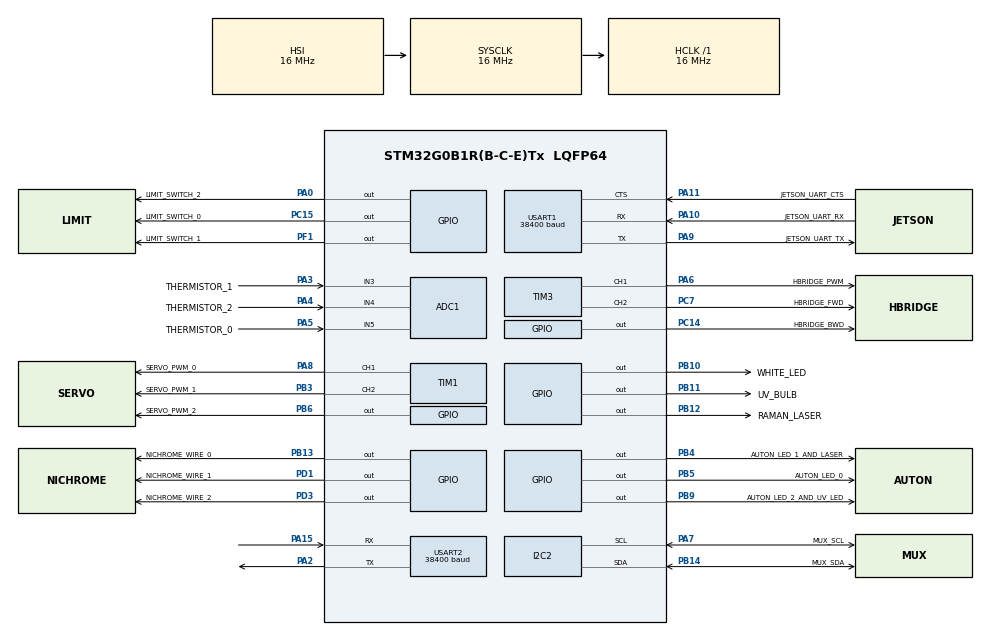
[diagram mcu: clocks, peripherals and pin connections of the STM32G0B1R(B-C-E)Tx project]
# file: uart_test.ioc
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ADC1.Channel-0\#ChannelRegularConversion=ADC_CHANNEL_3
ADC1.NbrOfConversionFlag=1
ADC1.Rank-0\#ChannelRegularConversion=1
ADC1.SamplingTime-0\#ChannelRegularConversion=ADC_SAMPLINGTIME_COMMON_1
ADC1.SelectedChannel=ADC_CHANNEL_3|ADC_CHANNEL_4|ADC_CHANNEL_5
ADC1.master=1
Dma.Request0=USART1_RX
Dma.Request1=USART2_RX
Dma.USART1_RX.0.Direction=DMA_PERIPH_TO_MEMORY
Dma.USART1_RX.0.EventEnable=DISABLE
Dma.USART1_RX.0.Instance=DMA1_Channel1
Dma.USART1_RX.0.MemDataAlignment=DMA_MDATAALIGN_BYTE
Dma.USART1_RX.0.MemInc=DMA_MINC_ENABLE
Dma.USART1_RX.0.Mode=DMA_NORMAL
Dma.USART1_RX.0.PeriphDataAlignment=DMA_PDATAALIGN_BYTE
Dma.USART1_RX.0.PeriphInc=DMA_PINC_DISABLE
Dma.USART1_RX.0.Polarity=HAL_DMAMUX_REQ_GEN_RISING
Dma.USART1_RX.0.Priority=DMA_PRIORITY_LOW
Dma.USART1_RX.0.RequestNumber=1
Dma.USART1_RX.0.SignalID=NONE
Dma.USART1_RX.0.SyncEnable=DISABLE
Dma.USART1_RX.0.SyncPolarity=HAL_DMAMUX_SYNC_NO_EVENT
Dma.USART1_RX.0.SyncRequestNumber=1
Dma.USART1_RX.0.SyncSignalID=NONE
Dma.USART2_RX.1.Direction=DMA_PERIPH_TO_MEMORY
Dma.USART2_RX.1.EventEnable=DISABLE
Dma.USART2_RX.1.Instance=DMA1_Channel2
Dma.USART2_RX.1.MemDataAlignment=DMA_MDATAALIGN_BYTE
Dma.USART2_RX.1.MemInc=DMA_MINC_ENABLE
Dma.USART2_RX.1.Mode=DMA_NORMAL
Dma.USART2_RX.1.PeriphDataAlignment=DMA_PDATAALIGN_BYTE
Dma.USART2_RX.1.PeriphInc=DMA_PINC_DISABLE
Dma.USART2_RX.1.Polarity=HAL_DMAMUX_REQ_GEN_RISING
Dma.USART2_RX.1.Priority=DMA_PRIORITY_LOW
Dma.USART2_RX.1.RequestNumber=1
Dma.USART2_RX.1.SignalID=NONE
Dma.USART2_RX.1.SyncEnable=DISABLE
Dma.USART2_RX.1.SyncPolarity=HAL_DMAMUX_SYNC_NO_EVENT
Dma.USART2_RX.1.SyncRequestNumber=1
Dma.USART2_RX.1.SyncSignalID=NONE
Mcu.Family=STM32G0
Mcu.Name=STM32G0B1R(B-C-E)Tx
Mcu.Package=LQFP64
NVIC.DMA1_Channel1_IRQn=true\:0\:0\:false\:false\:true\:false\:true
NVIC.DMA1_Channel2_3_IRQn=true\:0\:0\:false\:false\:true\:false\:true
NVIC.I2C2_3_IRQn=true\:0\:0\:false\:false\:true\:true\:true
NVIC.USART2_LPUART2_IRQn=true\:0\:0\:false\:false\:true\:true\:true
PA0.GPIO_Label=LIMIT_SWITCH_2
PA0.Signal=GPIO_Output
PA10.GPIO_Label=JETSON_UART_RX
PA10.GPIO_Speed=GPIO_SPEED_FREQ_HIGH
PA10.Mode=Asynchronous
PA10.Signal=USART1_RX
PA11\ [PA9].GPIO_Label=JETSON_UART_CTS
PA11\ [PA9].Mode=CTS_Only
PA11\ [PA9].Signal=USART1_CTS
PA13.GPIO_Label=TMS
PA13.Mode=Serial_Wire
PA13.Signal=SYS_SWDIO
PA14-BOOT0.GPIO_Label=TCK
PA14-BOOT0.Mode=Serial_Wire
PA14-BOOT0.Signal=SYS_SWCLK
PA15.Mode=Asynchronous
PA15.Signal=USART2_RX
PA2.Mode=Asynchronous
PA2.Signal=USART2_TX
PA3.GPIO_Label=THERMISTOR_1
PA3.Mode=IN3
PA3.Signal=ADC1_IN3
PA4.GPIO_Label=THERMISTOR_2
PA4.Mode=IN4
PA4.Signal=ADC1_IN4
PA5.GPIO_Label=THERMISTOR_0
PA5.Mode=IN5
PA5.Signal=ADC1_IN5
PA6.GPIO_Label=HBRIDGE_PWM
PA6.Signal=S_TIM3_CH1
PA7.GPIO_Label=MUX_SCL
PA7.Mode=I2C
PA7.Signal=I2C2_SCL
PA8.GPIO_Label=SERVO_PWM_0
PA8.Signal=S_TIM1_CH1
PA9.GPIO_Label=JETSON_UART_TX
PA9.GPIO_Speed=GPIO_SPEED_FREQ_HIGH
PA9.Mode=Asynchronous
PA9.Signal=USART1_TX
PB10.GPIO_Label=WHITE_LED
PB10.Signal=GPIO_Output
PB11.GPIO_Label=UV_BULB
PB11.Signal=GPIO_Output
PB12.GPIO_Label=RAMAN_LASER
PB12.Signal=GPIO_Output
PB13.GPIO_Label=NICHROME_WIRE_0
PB13.Signal=GPIO_Output
PB14.GPIO_Label=MUX_SDA
PB14.Mode=I2C
PB14.Signal=I2C2_SDA
PB3.GPIO_Label=SERVO_PWM_1
PB3.Signal=S_TIM1_CH2
PB4.GPIO_Label=AUTON_LED_1_AND_LASER
PB4.Signal=GPIO_Output
PB5.GPIO_Label=AUTON_LED_0
PB5.Signal=GPIO_Output
PB6.GPIO_Label=SERVO_PWM_2
PB6.Signal=GPIO_Output
PB9.GPIO_Label=AUTON_LED_2_AND_UV_LED
PB9.Signal=GPIO_Output
PC13.Mode=SYS_WakeUp1
PC13.Signal=SYS_WKUP2
PC14-OSC32_IN\ (PC14).GPIO_Label=HBRIDGE_BWD
PC14-OSC32_IN\ (PC14).Signal=GPIO_Output
PC15-OSC32_OUT\ (PC15).GPIO_Label=LIMIT_SWITCH_0
PC15-OSC32_OUT\ (PC15).Signal=GPIO_Output
PC7.GPIO_Label=HBRIDGE_FWD
PC7.Signal=S_TIM3_CH2
PD1.GPIO_Label=NICHROME_WIRE_1
PD1.Signal=GPIO_Output
PD3.GPIO_Label=NICHROME_WIRE_2
PD3.Signal=GPIO_Output
PF0-OSC_IN\ (PF0).GPIO_Label=MCO
PF0-OSC_IN\ (PF0).Mode=HSE-External-Clock-Source
PF0-OSC_IN\ (PF0).Signal=RCC_OSC_IN
PF1-OSC_OUT\ (PF1).GPIO_Label=LIMIT_SWITCH_1
PF1-OSC_OUT\ (PF1).Signal=GPIO_Output
ProjectManager.HeapSize=0x200
ProjectManager.StackSize=0x400
ProjectManager.TargetToolchain=STM32CubeIDE
RCC.AHBFreq_Value=16000000
RCC.CortexFreq_Value=16000000
RCC.EXTERNAL_CLOCK_VALUE=12288000
RCC.HCLKFreq_Value=16000000
RCC.HSE_VALUE=8000000
RCC.HSI48_VALUE=48000000
RCC.HSI_VALUE=16000000
RCC.LSE_VALUE=32768
RCC.SYSCLKFreq_VALUE=16000000
RCC.USBFreq_Value=48000000
RCC.VCOOutputFreq_Value=128000000
SH.S_TIM1_CH1.0=TIM1_CH1,PWM Generation1 CH1
SH.S_TIM1_CH2.0=TIM1_CH2,PWM Generation2 CH2
SH.S_TIM3_CH1.0=TIM3_CH1,PWM Generation1 CH1
SH.S_TIM3_CH2.0=TIM3_CH2,PWM Generation2 CH2
TIM1.Channel-PWM\ Generation1\ CH1=TIM_CHANNEL_1
TIM1.Channel-PWM\ Generation2\ CH2=TIM_CHANNEL_2
TIM3.Channel-PWM\ Generation1\ CH1=TIM_CHANNEL_1
TIM3.Channel-PWM\ Generation2\ CH2=TIM_CHANNEL_2
USART1.BaudRate=38400
USART1.VirtualMode-Asynchronous=VM_ASYNC
USART2.BaudRate=38400
USART2.VirtualMode-Asynchronous=VM_ASYNC
VP_SYS_VS_DBSignals.Mode=DisableDeadBatterySignals
board=NUCLEO-G0B1RE

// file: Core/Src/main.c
/* USER CODE BEGIN Header */
/**
  ******************************************************************************
  * @file           : main.c
  * @brief          : Main program body
  ******************************************************************************
  * @attention
  *
  * <h2><center>&copy; Copyright (c) 2021 STMicroelectronics.
  * All rights reserved.</center></h2>
  *
  * This software component is licensed by ST under BSD 3-Clause license,
  * the "License"; You may not use this file except in compliance with the
  * License. You may obtain a copy of the License at:
  *                        opensource.org/licenses/BSD-3-Clause
  *
  ******************************************************************************
  */
/* USER CODE END Header */
#include "main.h"

/* USER CODE BEGIN Includes */
#include "main_loop.h"
#include "main_preloop.h"
/* USER CODE END Includes */

ADC_HandleTypeDef hadc1;

I2C_HandleTypeDef hi2c2;

TIM_HandleTypeDef htim1;
TIM_HandleTypeDef htim3;

UART_HandleTypeDef huart1;
UART_HandleTypeDef huart2;
DMA_HandleTypeDef hdma_usart1_rx;
DMA_HandleTypeDef hdma_usart2_rx;

/* USER CODE BEGIN PV */
HAL_StatusTypeDef ret;

#define HBRIDGE_TIMER &htim3;

#define JETSON_UART &huart2

// Flag for command received
volatile int cmd_received = 0;

//Global buffer for receiving UART commands
volatile uint8_t Rx_data[20];

//Global buffer of the last received command.
volatile uint8_t cmd_data[20];
/* USER CODE END PV */

void SystemClock_Config(void);
static void MX_GPIO_Init(void);
static void MX_DMA_Init(void);
static void MX_ADC1_Init(void);
static void MX_TIM1_Init(void);
static void MX_TIM3_Init(void);
static void MX_USART1_UART_Init(void);
static void MX_USART2_UART_Init(void);
static void MX_I2C2_Init(void);
/* USER CODE BEGIN PFP */

// Clears the ORE and NE flags from the uart handler with delay
// TODO add better explanation why
void clear_flags();

/* USER CODE END PFP */

/* USER CODE BEGIN 0 */

//Callback to be called after HAL_UART_RECEIVE_IT finishes getting data
void HAL_UART_RxCpltCallback(UART_HandleTypeDef *huart){
	// Disable Interrupts
	HAL_NVIC_DisableIRQ(USART1_IRQn);
	// Set received flag
	cmd_received = 1;
	// Copy the receive buffer into the command buffer.
	memcpy(cmd_data,Rx_data,20);
	// Save the last command
	// Enable Interrupts
	HAL_NVIC_EnableIRQ(USART1_IRQn);
	ret = HAL_UART_Receive_DMA(JETSON_UART,Rx_data,20);

	//__HAL_UART_CLEAR_FLAG(JETSON_UART, UART_CLEAR_OREF);
	//__HAL_UART_SEND_REQ(JETSON_UART, UART_RXDATA_FLUSH_REQUEST);

	if (ret != HAL_OK) {
		Error_Handler();
		HAL_UART_Abort_IT(&huart1);
	    SET_BIT(huart1.Instance->CR3, USART_CR3_EIE);
	    //This flag no longer exists
	    //SET_BIT(huart1.Instance->CR1, USART_CR1_PEIE | USART_CR1_RXNEIE);
	    HAL_NVIC_ClearPendingIRQ(USART1_IRQn);

	    ret = HAL_UART_Receive_DMA(JETSON_UART,Rx_data,20);
	}
}

void HAL_UART_TxCpltCallback(UART_HandleTypeDef *huart) {

}

// Clears the ORE and NE flags from the uart handler with delay
// TODO add better explanation why
void clear_flags(){
	HAL_Delay(250);
	__HAL_UART_CLEAR_OREFLAG(JETSON_UART);
	__HAL_UART_CLEAR_NEFLAG(JETSON_UART);
}
/* USER CODE END 0 */

int main(void)
{

  /* MCU Configuration--------------------------------------------------------*/

  /* Reset of all peripherals, Initializes the Flash interface and the Systick. */
  HAL_Init();

  /* Configure the system clock */
  SystemClock_Config();

  /* Initialize all configured peripherals */
  MX_GPIO_Init();
  MX_DMA_Init();
  MX_ADC1_Init();
  MX_TIM1_Init();
  MX_TIM3_Init();
  MX_USART1_UART_Init();
  MX_USART2_UART_Init();
  MX_I2C2_Init();
  /* USER CODE BEGIN 2 */

  main_preloop();
  /* USER CODE END 2 */

  /* Infinite loop */
  while (1)
  {

    /* USER CODE BEGIN 3 */
	  main_loop();
  }
  /* USER CODE END 3 */
}

void SystemClock_Config(void)
{
  RCC_OscInitTypeDef RCC_OscInitStruct = {0};
  RCC_ClkInitTypeDef RCC_ClkInitStruct = {0};
  RCC_PeriphCLKInitTypeDef PeriphClkInit = {0};

  /** Configure the main internal regulator output voltage
  */
  HAL_PWREx_ControlVoltageScaling(PWR_REGULATOR_VOLTAGE_SCALE1);
  /** Initializes the RCC Oscillators according to the specified parameters
  * in the RCC_OscInitTypeDef structure.
  */
  RCC_OscInitStruct.OscillatorType = RCC_OSCILLATORTYPE_HSI;
  RCC_OscInitStruct.HSIState = RCC_HSI_ON;
  RCC_OscInitStruct.HSIDiv = RCC_HSI_DIV1;
  RCC_OscInitStruct.HSICalibrationValue = RCC_HSICALIBRATION_DEFAULT;
  RCC_OscInitStruct.PLL.PLLState = RCC_PLL_NONE;
  if (HAL_RCC_OscConfig(&RCC_OscInitStruct) != HAL_OK)
  {
    Error_Handler();
  }
  /** Initializes the CPU, AHB and APB buses clocks
  */
  RCC_ClkInitStruct.ClockType = RCC_CLOCKTYPE_HCLK|RCC_CLOCKTYPE_SYSCLK
                              |RCC_CLOCKTYPE_PCLK1;
  RCC_ClkInitStruct.SYSCLKSource = RCC_SYSCLKSOURCE_HSI;
  RCC_ClkInitStruct.AHBCLKDivider = RCC_SYSCLK_DIV1;
  RCC_ClkInitStruct.APB1CLKDivider = RCC_HCLK_DIV1;

  if (HAL_RCC_ClockConfig(&RCC_ClkInitStruct, FLASH_LATENCY_0) != HAL_OK)
  {
    Error_Handler();
  }
  /** Initializes the peripherals clocks
  */
  PeriphClkInit.PeriphClockSelection = RCC_PERIPHCLK_USART1|RCC_PERIPHCLK_USART2
                              |RCC_PERIPHCLK_I2C2|RCC_PERIPHCLK_ADC
                              |RCC_PERIPHCLK_TIM1;
  PeriphClkInit.Usart1ClockSelection = RCC_USART1CLKSOURCE_PCLK1;
  PeriphClkInit.Usart2ClockSelection = RCC_USART2CLKSOURCE_PCLK1;
  PeriphClkInit.AdcClockSelection = RCC_ADCCLKSOURCE_SYSCLK;
  PeriphClkInit.Tim1ClockSelection = RCC_TIM1CLKSOURCE_PCLK1;
  PeriphClkInit.I2c2ClockSelection = RCC_I2C2CLKSOURCE_PCLK1;
  if (HAL_RCCEx_PeriphCLKConfig(&PeriphClkInit) != HAL_OK)
  {
    Error_Handler();
  }
}

static void MX_ADC1_Init(void)
{

  ADC_ChannelConfTypeDef sConfig = {0};

  /** Configure the global features of the ADC (Clock, Resolution, Data Alignment and number of conversion)
  */
  hadc1.Instance = ADC1;
  hadc1.Init.ClockPrescaler = ADC_CLOCK_SYNC_PCLK_DIV2;
  hadc1.Init.Resolution = ADC_RESOLUTION_12B;
  hadc1.Init.DataAlign = ADC_DATAALIGN_RIGHT;
  hadc1.Init.ScanConvMode = ADC_SCAN_DISABLE;
  hadc1.Init.EOCSelection = ADC_EOC_SINGLE_CONV;
  hadc1.Init.LowPowerAutoWait = DISABLE;
  hadc1.Init.LowPowerAutoPowerOff = DISABLE;
  hadc1.Init.ContinuousConvMode = DISABLE;
  hadc1.Init.NbrOfConversion = 1;
  hadc1.Init.DiscontinuousConvMode = DISABLE;
  hadc1.Init.ExternalTrigConv = ADC_SOFTWARE_START;
  hadc1.Init.ExternalTrigConvEdge = ADC_EXTERNALTRIGCONVEDGE_NONE;
  hadc1.Init.DMAContinuousRequests = DISABLE;
  hadc1.Init.Overrun = ADC_OVR_DATA_PRESERVED;
  hadc1.Init.SamplingTimeCommon1 = ADC_SAMPLETIME_1CYCLE_5;
  hadc1.Init.SamplingTimeCommon2 = ADC_SAMPLETIME_1CYCLE_5;
  hadc1.Init.OversamplingMode = DISABLE;
  hadc1.Init.TriggerFrequencyMode = ADC_TRIGGER_FREQ_HIGH;
  if (HAL_ADC_Init(&hadc1) != HAL_OK)
  {
    Error_Handler();
  }
  /** Configure Regular Channel
  */
  sConfig.Channel = ADC_CHANNEL_3;
  sConfig.Rank = ADC_REGULAR_RANK_1;
  sConfig.SamplingTime = ADC_SAMPLINGTIME_COMMON_1;
  if (HAL_ADC_ConfigChannel(&hadc1, &sConfig) != HAL_OK)
  {
    Error_Handler();
  }

}

static void MX_I2C2_Init(void)
{

  hi2c2.Instance = I2C2;
  hi2c2.Init.Timing = 0x00303D5B;
  hi2c2.Init.OwnAddress1 = 0;
  hi2c2.Init.AddressingMode = I2C_ADDRESSINGMODE_7BIT;
  hi2c2.Init.DualAddressMode = I2C_DUALADDRESS_DISABLE;
  hi2c2.Init.OwnAddress2 = 0;
  hi2c2.Init.OwnAddress2Masks = I2C_OA2_NOMASK;
  hi2c2.Init.GeneralCallMode = I2C_GENERALCALL_DISABLE;
  hi2c2.Init.NoStretchMode = I2C_NOSTRETCH_DISABLE;
  if (HAL_I2C_Init(&hi2c2) != HAL_OK)
  {
    Error_Handler();
  }
  /** Configure Analogue filter
  */
  if (HAL_I2CEx_ConfigAnalogFilter(&hi2c2, I2C_ANALOGFILTER_ENABLE) != HAL_OK)
  {
    Error_Handler();
  }
  /** Configure Digital filter
  */
  if (HAL_I2CEx_ConfigDigitalFilter(&hi2c2, 0) != HAL_OK)
  {
    Error_Handler();
  }

}

static void MX_TIM1_Init(void)
{

  TIM_MasterConfigTypeDef sMasterConfig = {0};
  TIM_OC_InitTypeDef sConfigOC = {0};
  TIM_BreakDeadTimeConfigTypeDef sBreakDeadTimeConfig = {0};

  htim1.Instance = TIM1;
  htim1.Init.Prescaler = 0;
  htim1.Init.CounterMode = TIM_COUNTERMODE_UP;
  htim1.Init.Period = 65535;
  htim1.Init.ClockDivision = TIM_CLOCKDIVISION_DIV1;
  htim1.Init.RepetitionCounter = 0;
  htim1.Init.AutoReloadPreload = TIM_AUTORELOAD_PRELOAD_DISABLE;
  if (HAL_TIM_PWM_Init(&htim1) != HAL_OK)
  {
    Error_Handler();
  }
  sMasterConfig.MasterOutputTrigger = TIM_TRGO_RESET;
  sMasterConfig.MasterOutputTrigger2 = TIM_TRGO2_RESET;
  sMasterConfig.MasterSlaveMode = TIM_MASTERSLAVEMODE_DISABLE;
  if (HAL_TIMEx_MasterConfigSynchronization(&htim1, &sMasterConfig) != HAL_OK)
  {
    Error_Handler();
  }
  sConfigOC.OCMode = TIM_OCMODE_PWM1;
  sConfigOC.Pulse = 0;
  sConfigOC.OCPolarity = TIM_OCPOLARITY_HIGH;
  sConfigOC.OCNPolarity = TIM_OCNPOLARITY_HIGH;
  sConfigOC.OCFastMode = TIM_OCFAST_DISABLE;
  sConfigOC.OCIdleState = TIM_OCIDLESTATE_RESET;
  sConfigOC.OCNIdleState = TIM_OCNIDLESTATE_RESET;
  if (HAL_TIM_PWM_ConfigChannel(&htim1, &sConfigOC, TIM_CHANNEL_1) != HAL_OK)
  {
    Error_Handler();
  }
  if (HAL_TIM_PWM_ConfigChannel(&htim1, &sConfigOC, TIM_CHANNEL_2) != HAL_OK)
  {
    Error_Handler();
  }
  sBreakDeadTimeConfig.OffStateRunMode = TIM_OSSR_DISABLE;
  sBreakDeadTimeConfig.OffStateIDLEMode = TIM_OSSI_DISABLE;
  sBreakDeadTimeConfig.LockLevel = TIM_LOCKLEVEL_OFF;
  sBreakDeadTimeConfig.DeadTime = 0;
  sBreakDeadTimeConfig.BreakState = TIM_BREAK_DISABLE;
  sBreakDeadTimeConfig.BreakPolarity = TIM_BREAKPOLARITY_HIGH;
  sBreakDeadTimeConfig.BreakFilter = 0;
  sBreakDeadTimeConfig.BreakAFMode = TIM_BREAK_AFMODE_INPUT;
  sBreakDeadTimeConfig.Break2State = TIM_BREAK2_DISABLE;
  sBreakDeadTimeConfig.Break2Polarity = TIM_BREAK2POLARITY_HIGH;
  sBreakDeadTimeConfig.Break2Filter = 0;
  sBreakDeadTimeConfig.Break2AFMode = TIM_BREAK_AFMODE_INPUT;
  sBreakDeadTimeConfig.AutomaticOutput = TIM_AUTOMATICOUTPUT_DISABLE;
  if (HAL_TIMEx_ConfigBreakDeadTime(&htim1, &sBreakDeadTimeConfig) != HAL_OK)
  {
    Error_Handler();
  }
  HAL_TIM_MspPostInit(&htim1);

}

static void MX_TIM3_Init(void)
{

  TIM_MasterConfigTypeDef sMasterConfig = {0};
  TIM_OC_InitTypeDef sConfigOC = {0};

  htim3.Instance = TIM3;
  htim3.Init.Prescaler = 0;
  htim3.Init.CounterMode = TIM_COUNTERMODE_UP;
  htim3.Init.Period = 65535;
  htim3.Init.ClockDivision = TIM_CLOCKDIVISION_DIV1;
  htim3.Init.AutoReloadPreload = TIM_AUTORELOAD_PRELOAD_DISABLE;
  if (HAL_TIM_PWM_Init(&htim3) != HAL_OK)
  {
    Error_Handler();
  }
  sMasterConfig.MasterOutputTrigger = TIM_TRGO_RESET;
  sMasterConfig.MasterSlaveMode = TIM_MASTERSLAVEMODE_DISABLE;
  if (HAL_TIMEx_MasterConfigSynchronization(&htim3, &sMasterConfig) != HAL_OK)
  {
    Error_Handler();
  }
  sConfigOC.OCMode = TIM_OCMODE_PWM1;
  sConfigOC.Pulse = 0;
  sConfigOC.OCPolarity = TIM_OCPOLARITY_HIGH;
  sConfigOC.OCFastMode = TIM_OCFAST_DISABLE;
  if (HAL_TIM_PWM_ConfigChannel(&htim3, &sConfigOC, TIM_CHANNEL_1) != HAL_OK)
  {
    Error_Handler();
  }
  if (HAL_TIM_PWM_ConfigChannel(&htim3, &sConfigOC, TIM_CHANNEL_2) != HAL_OK)
  {
    Error_Handler();
  }
  HAL_TIM_MspPostInit(&htim3);

}

static void MX_USART1_UART_Init(void)
{

  huart1.Instance = USART1;
  huart1.Init.BaudRate = 38400;
  huart1.Init.WordLength = UART_WORDLENGTH_8B;
  huart1.Init.StopBits = UART_STOPBITS_1;
  huart1.Init.Parity = UART_PARITY_NONE;
  huart1.Init.Mode = UART_MODE_TX_RX;
  huart1.Init.HwFlowCtl = UART_HWCONTROL_CTS;
  huart1.Init.OverSampling = UART_OVERSAMPLING_16;
  huart1.Init.OneBitSampling = UART_ONE_BIT_SAMPLE_DISABLE;
  huart1.Init.ClockPrescaler = UART_PRESCALER_DIV1;
  huart1.AdvancedInit.AdvFeatureInit = UART_ADVFEATURE_NO_INIT;
  if (HAL_UART_Init(&huart1) != HAL_OK)
  {
    Error_Handler();
  }
  if (HAL_UARTEx_SetTxFifoThreshold(&huart1, UART_TXFIFO_THRESHOLD_1_8) != HAL_OK)
  {
    Error_Handler();
  }
  if (HAL_UARTEx_SetRxFifoThreshold(&huart1, UART_RXFIFO_THRESHOLD_1_8) != HAL_OK)
  {
    Error_Handler();
  }
  if (HAL_UARTEx_DisableFifoMode(&huart1) != HAL_OK)
  {
    Error_Handler();
  }

}

static void MX_USART2_UART_Init(void)
{

  huart2.Instance = USART2;
  huart2.Init.BaudRate = 38400;
  huart2.Init.WordLength = UART_WORDLENGTH_8B;
  huart2.Init.StopBits = UART_STOPBITS_1;
  huart2.Init.Parity = UART_PARITY_NONE;
  huart2.Init.Mode = UART_MODE_TX_RX;
  huart2.Init.HwFlowCtl = UART_HWCONTROL_NONE;
  huart2.Init.OverSampling = UART_OVERSAMPLING_16;
  huart2.Init.OneBitSampling = UART_ONE_BIT_SAMPLE_DISABLE;
  huart2.Init.ClockPrescaler = UART_PRESCALER_DIV1;
  huart2.AdvancedInit.AdvFeatureInit = UART_ADVFEATURE_NO_INIT;
  if (HAL_UART_Init(&huart2) != HAL_OK)
  {
    Error_Handler();
  }
  if (HAL_UARTEx_SetTxFifoThreshold(&huart2, UART_TXFIFO_THRESHOLD_1_8) != HAL_OK)
  {
    Error_Handler();
  }
  if (HAL_UARTEx_SetRxFifoThreshold(&huart2, UART_RXFIFO_THRESHOLD_1_8) != HAL_OK)
  {
    Error_Handler();
  }
  if (HAL_UARTEx_DisableFifoMode(&huart2) != HAL_OK)
  {
    Error_Handler();
  }

}

static void MX_DMA_Init(void)
{

  /* DMA controller clock enable */
  __HAL_RCC_DMA1_CLK_ENABLE();

  /* DMA interrupt init */
  /* DMA1_Channel1_IRQn interrupt configuration */
  HAL_NVIC_SetPriority(DMA1_Channel1_IRQn, 0, 0);
  HAL_NVIC_EnableIRQ(DMA1_Channel1_IRQn);
  /* DMA1_Channel2_3_IRQn interrupt configuration */
  HAL_NVIC_SetPriority(DMA1_Channel2_3_IRQn, 0, 0);
  HAL_NVIC_EnableIRQ(DMA1_Channel2_3_IRQn);

}

static void MX_GPIO_Init(void)
{
  GPIO_InitTypeDef GPIO_InitStruct = {0};

  /* GPIO Ports Clock Enable */
  __HAL_RCC_GPIOC_CLK_ENABLE();
  __HAL_RCC_GPIOF_CLK_ENABLE();
  __HAL_RCC_GPIOA_CLK_ENABLE();
  __HAL_RCC_GPIOB_CLK_ENABLE();
  __HAL_RCC_GPIOD_CLK_ENABLE();

  /*Configure GPIO pin Output Level */
  HAL_GPIO_WritePin(GPIOC, HBRIDGE_BWD_Pin|LIMIT_SWITCH_0_Pin, GPIO_PIN_RESET);

  /*Configure GPIO pin Output Level */
  HAL_GPIO_WritePin(LIMIT_SWITCH_1_GPIO_Port, LIMIT_SWITCH_1_Pin, GPIO_PIN_RESET);

  /*Configure GPIO pin Output Level */
  HAL_GPIO_WritePin(LIMIT_SWITCH_2_GPIO_Port, LIMIT_SWITCH_2_Pin, GPIO_PIN_RESET);

  /*Configure GPIO pin Output Level */
  HAL_GPIO_WritePin(GPIOB, WHITE_LED_Pin|UV_BULB_Pin|RAMAN_LASER_Pin|NICHROME_WIRE_0_Pin
                          |AUTON_LED_1_AND_LASER_Pin|AUTON_LED_0_Pin|SERVO_PWM_2_Pin|AUTON_LED_2_AND_UV_LED_Pin, GPIO_PIN_RESET);

  /*Configure GPIO pin Output Level */
  HAL_GPIO_WritePin(GPIOD, NICHROME_WIRE_1_Pin|NICHROME_WIRE_2_Pin, GPIO_PIN_RESET);

  /*Configure GPIO pins : HBRIDGE_BWD_Pin LIMIT_SWITCH_0_Pin */
  GPIO_InitStruct.Pin = HBRIDGE_BWD_Pin|LIMIT_SWITCH_0_Pin;
  GPIO_InitStruct.Mode = GPIO_MODE_OUTPUT_PP;
  GPIO_InitStruct.Pull = GPIO_NOPULL;
  GPIO_InitStruct.Speed = GPIO_SPEED_FREQ_LOW;
  HAL_GPIO_Init(GPIOC, &GPIO_InitStruct);

  /*Configure GPIO pin : LIMIT_SWITCH_1_Pin */
  GPIO_InitStruct.Pin = LIMIT_SWITCH_1_Pin;
  GPIO_InitStruct.Mode = GPIO_MODE_OUTPUT_PP;
  GPIO_InitStruct.Pull = GPIO_NOPULL;
  GPIO_InitStruct.Speed = GPIO_SPEED_FREQ_LOW;
  HAL_GPIO_Init(LIMIT_SWITCH_1_GPIO_Port, &GPIO_InitStruct);

  /*Configure GPIO pin : LIMIT_SWITCH_2_Pin */
  GPIO_InitStruct.Pin = LIMIT_SWITCH_2_Pin;
  GPIO_InitStruct.Mode = GPIO_MODE_OUTPUT_PP;
  GPIO_InitStruct.Pull = GPIO_NOPULL;
  GPIO_InitStruct.Speed = GPIO_SPEED_FREQ_LOW;
  HAL_GPIO_Init(LIMIT_SWITCH_2_GPIO_Port, &GPIO_InitStruct);

  /*Configure GPIO pins : WHITE_LED_Pin UV_BULB_Pin RAMAN_LASER_Pin NICHROME_WIRE_0_Pin
                           AUTON_LED_1_AND_LASER_Pin AUTON_LED_0_Pin SERVO_PWM_2_Pin AUTON_LED_2_AND_UV_LED_Pin */
  GPIO_InitStruct.Pin = WHITE_LED_Pin|UV_BULB_Pin|RAMAN_LASER_Pin|NICHROME_WIRE_0_Pin
                          |AUTON_LED_1_AND_LASER_Pin|AUTON_LED_0_Pin|SERVO_PWM_2_Pin|AUTON_LED_2_AND_UV_LED_Pin;
  GPIO_InitStruct.Mode = GPIO_MODE_OUTPUT_PP;
  GPIO_InitStruct.Pull = GPIO_NOPULL;
  GPIO_InitStruct.Speed = GPIO_SPEED_FREQ_LOW;
  HAL_GPIO_Init(GPIOB, &GPIO_InitStruct);

  /*Configure GPIO pins : NICHROME_WIRE_1_Pin NICHROME_WIRE_2_Pin */
  GPIO_InitStruct.Pin = NICHROME_WIRE_1_Pin|NICHROME_WIRE_2_Pin;
  GPIO_InitStruct.Mode = GPIO_MODE_OUTPUT_PP;
  GPIO_InitStruct.Pull = GPIO_NOPULL;
  GPIO_InitStruct.Speed = GPIO_SPEED_FREQ_LOW;
  HAL_GPIO_Init(GPIOD, &GPIO_InitStruct);

}

void Error_Handler(void)
{
  __disable_irq();
  while (1)
  {
  }
}

/************************ (C) COPYRIGHT STMicroelectronics *****END OF FILE****/
